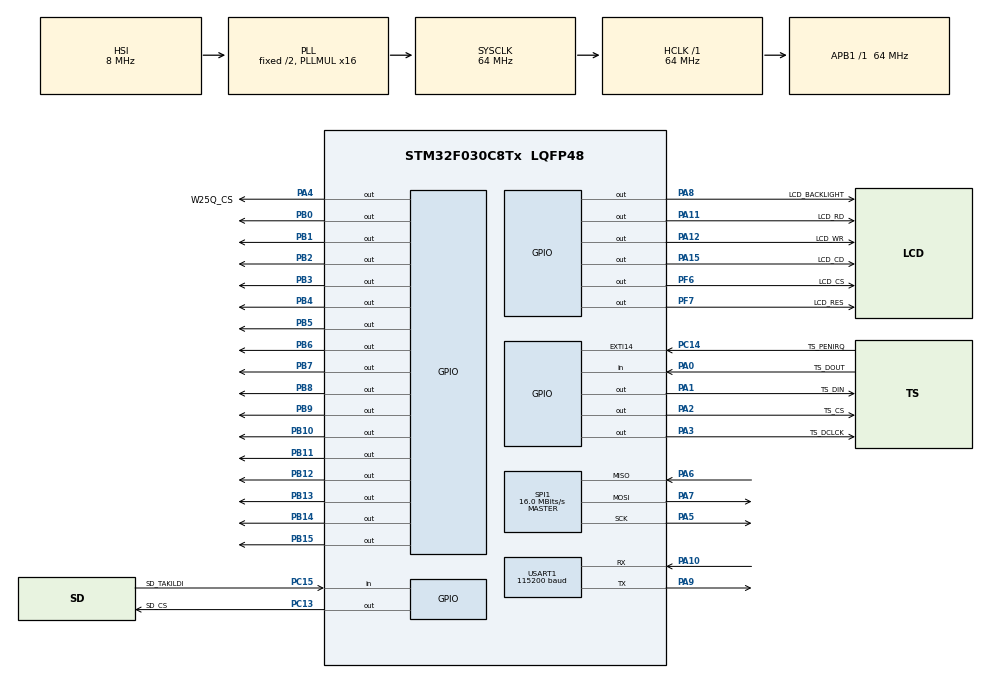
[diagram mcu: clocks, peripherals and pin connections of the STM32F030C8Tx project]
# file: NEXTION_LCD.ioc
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Dma.Request0=USART1_TX
Dma.USART1_TX.0.Direction=DMA_MEMORY_TO_PERIPH
Dma.USART1_TX.0.Instance=DMA1_Channel4
Dma.USART1_TX.0.MemDataAlignment=DMA_MDATAALIGN_BYTE
Dma.USART1_TX.0.MemInc=DMA_MINC_ENABLE
Dma.USART1_TX.0.Mode=DMA_NORMAL
Dma.USART1_TX.0.PeriphDataAlignment=DMA_PDATAALIGN_BYTE
Dma.USART1_TX.0.PeriphInc=DMA_PINC_DISABLE
Dma.USART1_TX.0.Priority=DMA_PRIORITY_LOW
FATFS._MAX_LFN=50
FATFS._USE_FIND=0
FATFS._USE_LFN=0
FATFS._USE_MKFS=0
Mcu.Family=STM32F0
Mcu.Name=STM32F030C8Tx
Mcu.Package=LQFP48
NVIC.DMA1_Channel4_5_IRQn=true\:0\:0\:false\:false\:true\:false\:true
NVIC.EXTI4_15_IRQn=true\:3\:0\:true\:false\:true\:true\:true
NVIC.SPI1_IRQn=true\:0\:0\:false\:false\:true\:true\:true
PA0.GPIO_Label=TS_DOUT
PA0.Signal=GPIO_Input
PA1.GPIO_Label=TS_DIN
PA1.GPIO_PuPd=GPIO_PULLDOWN
PA1.Signal=GPIO_Output
PA10.Mode=Asynchronous
PA10.Signal=USART1_RX
PA11.GPIO_Label=LCD_RD
PA11.GPIO_PuPd=GPIO_PULLUP
PA11.GPIO_Speed=GPIO_SPEED_FREQ_HIGH
PA11.PinState=GPIO_PIN_SET
PA11.Signal=GPIO_Output
PA12.GPIO_Label=LCD_WR
PA12.GPIO_PuPd=GPIO_PULLUP
PA12.GPIO_Speed=GPIO_SPEED_FREQ_HIGH
PA12.PinState=GPIO_PIN_SET
PA12.Signal=GPIO_Output
PA15.GPIO_Label=LCD_CD
PA15.GPIO_PuPd=GPIO_PULLUP
PA15.GPIO_Speed=GPIO_SPEED_FREQ_HIGH
PA15.PinState=GPIO_PIN_SET
PA15.Signal=GPIO_Output
PA2.GPIO_Label=TS_CS
PA2.GPIO_PuPd=GPIO_PULLUP
PA2.PinState=GPIO_PIN_SET
PA2.Signal=GPIO_Output
PA3.GPIO_Label=TS_DCLCK
PA3.GPIO_PuPd=GPIO_PULLUP
PA3.PinState=GPIO_PIN_SET
PA3.Signal=GPIO_Output
PA4.GPIO_Label=W25Q_CS
PA4.GPIO_PuPd=GPIO_PULLUP
PA4.GPIO_Speed=GPIO_SPEED_FREQ_HIGH
PA4.PinState=GPIO_PIN_SET
PA4.Signal=GPIO_Output
PA5.Mode=Full_Duplex_Master
PA5.Signal=SPI1_SCK
PA6.Mode=Full_Duplex_Master
PA6.Signal=SPI1_MISO
PA7.Mode=Full_Duplex_Master
PA7.Signal=SPI1_MOSI
PA8.GPIO_Label=LCD_BACKLIGHT
PA8.GPIO_Speed=GPIO_SPEED_FREQ_HIGH
PA8.Signal=GPIO_Output
PA9.Mode=Asynchronous
PA9.Signal=USART1_TX
PB0.GPIO_Speed=GPIO_SPEED_FREQ_HIGH
PB0.Signal=GPIO_Output
PB1.GPIO_Speed=GPIO_SPEED_FREQ_HIGH
PB1.Signal=GPIO_Output
PB10.GPIO_Speed=GPIO_SPEED_FREQ_HIGH
PB10.Signal=GPIO_Output
PB11.GPIO_Speed=GPIO_SPEED_FREQ_HIGH
PB11.Signal=GPIO_Output
PB12.GPIO_Speed=GPIO_SPEED_FREQ_HIGH
PB12.Signal=GPIO_Output
PB13.GPIO_Speed=GPIO_SPEED_FREQ_HIGH
PB13.Signal=GPIO_Output
PB14.GPIO_Speed=GPIO_SPEED_FREQ_HIGH
PB14.Signal=GPIO_Output
PB15.GPIO_Speed=GPIO_SPEED_FREQ_HIGH
PB15.Signal=GPIO_Output
PB2.GPIO_Speed=GPIO_SPEED_FREQ_HIGH
PB2.Signal=GPIO_Output
PB3.GPIO_Speed=GPIO_SPEED_FREQ_HIGH
PB3.Signal=GPIO_Output
PB4.GPIO_Speed=GPIO_SPEED_FREQ_HIGH
PB4.Signal=GPIO_Output
PB5.GPIO_Speed=GPIO_SPEED_FREQ_HIGH
PB5.Signal=GPIO_Output
PB6.GPIO_Speed=GPIO_SPEED_FREQ_HIGH
PB6.Signal=GPIO_Output
PB7.GPIO_Speed=GPIO_SPEED_FREQ_HIGH
PB7.Signal=GPIO_Output
PB8.GPIO_Speed=GPIO_SPEED_FREQ_HIGH
PB8.Signal=GPIO_Output
PB9.GPIO_Speed=GPIO_SPEED_FREQ_HIGH
PB9.Signal=GPIO_Output
PC13.GPIO_Label=SD_CS
PC13.GPIO_PuPd=GPIO_PULLUP
PC13.GPIO_Speed=GPIO_SPEED_FREQ_LOW
PC13.PinState=GPIO_PIN_SET
PC13.Signal=GPIO_Output
PC14-OSC32_IN.GPIO_Label=TS_PENIRQ
PC14-OSC32_IN.GPIO_ModeDefaultEXTI=GPIO_MODE_IT_FALLING
PC14-OSC32_IN.GPIO_PuPd=GPIO_PULLUP
PC14-OSC32_IN.Signal=GPXTI14
PC15-OSC32_OUT.GPIO_Label=SD_TAKILDI
PC15-OSC32_OUT.GPIO_PuPd=GPIO_PULLUP
PC15-OSC32_OUT.Signal=GPIO_Input
PF6.GPIO_Label=LCD_CS
PF6.GPIO_PuPd=GPIO_PULLUP
PF6.GPIO_Speed=GPIO_SPEED_FREQ_HIGH
PF6.PinState=GPIO_PIN_SET
PF6.Signal=GPIO_Output
PF7.GPIO_Label=LCD_RES
PF7.GPIO_PuPd=GPIO_PULLUP
PF7.GPIO_Speed=GPIO_SPEED_FREQ_HIGH
PF7.PinState=GPIO_PIN_SET
PF7.Signal=GPIO_Output
ProjectManager.HeapSize=0x200
ProjectManager.StackSize=0x400
ProjectManager.TargetToolchain=STM32CubeIDE
RCC.AHBFreq_Value=64000000
RCC.APB1Freq_Value=64000000
RCC.APB1TimFreq_Value=64000000
RCC.HCLKFreq_Value=64000000
RCC.PLLMUL=RCC_PLL_MUL16
RCC.SYSCLKFreq_VALUE=64000000
RCC.SYSCLKSource=RCC_SYSCLKSOURCE_PLLCLK
RCC.Usart1ClockSelection=RCC_USART1CLKSOURCE_HSI
SPI1.BaudRatePrescaler=SPI_BAUDRATEPRESCALER_4
SPI1.CalculateBaudRate=16.0 MBits/s
SPI1.DataSize=SPI_DATASIZE_8BIT
SPI1.Direction=SPI_DIRECTION_2LINES
SPI1.Mode=SPI_MODE_MASTER
SPI1.NSSPMode=SPI_NSS_PULSE_DISABLE
SPI1.VirtualType=VM_MASTER
USART1.BaudRate=115200
USART1.VirtualMode-Asynchronous=VM_ASYNC
VP_FATFS_VS_Generic.Mode=User_defined
board=custom

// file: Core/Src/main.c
/* USER CODE BEGIN Header */
/** FONT DOSYASINI SHORT TAN CHAR A CEVIR YOKSA HAFIZADA COK YER KAPLIYOR VE CALISMAZ
 * 05-11-2019 da hazırlandı
  ******************************************************************************
  * @file           : main.c
  * @brief          : Main program body
  ******************************************************************************
  * @attention
  *
  * <h2><center>&copy; Copyright (c) 2019 STMicroelectronics.
  * All rights reserved.</center></h2>
  *
  * This software component is licensed by ST under BSD 3-Clause license,
  * the "License"; You may not use this file except in compliance with the
  * License. You may obtain a copy of the License at:
  *                        opensource.org/licenses/BSD-3-Clause
  *
  ******************************************************************************
  */
/* USER CODE END Header */

#include "main.h"
#include "fatfs.h"

/* USER CODE BEGIN Includes */
//#include "fatfs_sd.h"
//#include "string.h"
//#include "math.h"
#include "ILI9488.h"
#include "w25qxx.h"
#include "BULENFONT.h"
#include "string.h"
/* USER CODE END Includes */

SPI_HandleTypeDef hspi1;

UART_HandleTypeDef huart1;
DMA_HandleTypeDef hdma_usart1_tx;

void SystemClock_Config(void);
static void MX_GPIO_Init(void);
void MX_SPI1_Init(void);
static void MX_USART1_UART_Init(void);
static void MX_DMA_Init(void);

/* USER CODE BEGIN 0 */
FATFS fs;  //file system
FIL fil;   // to store the result
FRESULT fresult ; //to store the result
uint8_t buffer[2880]; // to store data
uint8_t txbuffer[5];
UINT br,bw;  // file read/write count
FILINFO fi;
DIR dir;

/*capacity related variables */
FATFS *pfs;
DWORD fre_clust;
uint32_t total, free_space;

uint16_t renk;
uint32_t top_adet=0;
uint8_t sn=0;

uint8_t tusa_basildi=0;
uint8_t tus_algilama_sayisi=0;

uint16_t TS_KOR_X=0;
uint16_t TS_KOR_Y=0;

uint16_t X_MAX=0;
uint16_t X_MIN=0;
uint16_t Y_MAX=0;
uint16_t Y_MIN=0;

/* USER CODE END 0 */

int main(void)
{

  /* MCU Configuration--------------------------------------------------------*/

  /* Reset of all peripherals, Initializes the Flash interface and the Systick. */
  HAL_Init();

  /* Configure the system clock */
  SystemClock_Config();

  /* Initialize all configured peripherals */
  MX_GPIO_Init();
  MX_SPI1_Init();
  MX_USART1_UART_Init();
  MX_FATFS_Init();
  MX_DMA_Init();
  /* USER CODE BEGIN 2 */
	HAL_GPIO_WritePin(LCD_RD_GPIO_Port, LCD_RD_Pin, GPIO_PIN_SET);  //OKUMA MODU KAPATILIYOR
	LCD_ILI9488_init();
	W25qxx_Init();

  /*to find the size of data in the buffer */

  /*
  int buffersize (char *buf)
  {
  	int i=0;
  	while(*buf++ != '\0') i++;
  	return i;

  }

*/
  void bufferclear (void)  //clear buffer
  {
  	for (int i=0; i<sizeof(buffer); i++)
  	{
  		//buffer[i]= '\0';
  		buffer[i]= 0XFF;  // BOS YERLER FF LE DOLDURULUYOR
  	}
  }
  //***************************************
  void SD_TO_W25Q()  //BUTUN RESIMLERI TEK SEFERDE KAYDEDER
  {

	  bufferclear();
      char dosyaadi[]="00.bin";   //DOSYA ADLARI "00.bin" den BASLAYIP "99.bin" 'E KADAR
      uint8_t dosyano=0;
      uint16_t sayfano=0;
      uint16_t sectorno=0;
      uint16_t def_sectorno=0;
      W25qxx_EraseSector(0);

  		LCD_Font(10, 10, "SD  KART  BULUNDU  DOSYALAR  KAYDEDILIYOR\n", Segoe_Script21x21,0xffff, 0xf800);
//  		W25qxx_EraseChip();     //KAYIT ISLEMININ YAPILABILMESI ICIN ONCELIKLE SILINMESI GEREKIYOR

  		TEKRAR:
  		fresult =f_open(&fil, dosyaadi, FA_READ);	    /* open file to read FA_READ */

  		if(fresult == FR_OK)
  		{
  		/* Read string from the file */

  		top_adet=0;
  		do
  		{
  		f_read(&fil, buffer, 256, &br);
  		W25qxx_WritePage(buffer,sayfano,0,256);  //kaydederken 1 2 3 4 sayfa no yazılacak(8 BİT)
 // 		W25qxx_ReadBytes(buffer,sayfano<<8,256); //okurken gercek adres yazılacak(32 BİT)
  		sayfano ++;
        sectorno=sayfano>>4;
        if(sectorno != def_sectorno)
        {
        	W25qxx_EraseSector(sectorno);
        	def_sectorno=sectorno;
        }
  		top_adet+=256;
  		}while(top_adet<fil.fsize);

  		f_close(&fil);	 /*close file */
  		HAL_Delay(1000);
  		}

  		dosyano++;
  		dosyaadi[1]=dosyano%10+48;
  		dosyaadi[0]=dosyano/10 +48;
  		if (dosyano <99) goto TEKRAR;
  	    HAL_GPIO_WritePin(SD_CS_GPIO_Port, SD_CS_Pin, GPIO_PIN_SET);
  		LCD_Font(10, 30, "BITTI  sd karti cikartiniz.\n", Segoe_Script21x21,0xffff, 0x001F);

  	}

//***************************************
void WQ25_TO_LCD(uint8_t Resim_Id,uint16_t Xstart, uint16_t Xend, uint16_t Ystart, uint16_t Yend)
{

//	uint32_t okuma_bas=(Ystart*480*2+Xstart)+(Resim_Id*1200*256); //son kısım sayfa secmede kullanılıyor
	uint32_t okuma_bas=(Ystart*480 +Xstart)*2+(Resim_Id*1200*256); //son kısım sayfa secmede kullanılıyor
	uint32_t okuma_bit=Yend*480+Xend;

	uint16_t adet=(Xend-Xstart)*6;

	    LCD_ILI9488_raw_datafeed_start(Xstart, Xend-1,Ystart,Yend-1);

		for(uint16_t yi=Ystart;yi<=Yend;yi+=3)
		{
		W25qxx_ReadBytes(buffer,okuma_bas,adet); //okurken gercek adres yazılacak
		for(uint16_t xi=0;xi<adet;xi+=2)
		{
		renk=buffer[xi]<<8;
		renk |= buffer[xi+1];
		GPIOB->ODR=renk;
		GPIOA->BRR=(uint32_t)LCD_WR_Pin;
		GPIOA->BSRR=(uint32_t)LCD_WR_Pin;
		}
		okuma_bas+=2880;  //her satır 480*2=960 byte den olusuyor
		}

		LCD_ILI9488_raw_datafeed_end();
}
//-*******************************************************
//-*******************************************************
void RENK_TO_LCD(uint16_t renk, uint16_t Xstart, uint16_t Xend, uint16_t Ystart, uint16_t Yend)
{

	    uint16_t adet=(Xend-Xstart)*2;

	    LCD_ILI9488_raw_datafeed_start(Xstart, Xend-1,Ystart,Yend-1);

		for(uint16_t yi=Ystart;yi<=Yend;yi++)
		{
		for(uint16_t xi=0;xi<adet;xi+=2)
		{
		GPIOB->ODR=renk;
		GPIOA->BRR=(uint32_t)LCD_WR_Pin;
		GPIOA->BSRR=(uint32_t)LCD_WR_Pin;
		}
		}

		LCD_ILI9488_raw_datafeed_end();

}
//-*******************************************************
void SD_KART_KONTROL()
{
	  if(!HAL_GPIO_ReadPin(SD_TAKILDI_GPIO_Port, SD_TAKILDI_Pin))
	  {

	  fresult =f_mount(&fs, "",0);  //SD KART TAKILDIMI
	  	if(fresult == FR_OK)
	  	{
	  	SD_TO_W25Q();
	  	}
	  	while(!HAL_GPIO_ReadPin(SD_TAKILDI_GPIO_Port, SD_TAKILDI_Pin));
	  	NVIC_SystemReset();
	  }
}
//************************************************************************
void TS_KALIBRE()
{
	    TS_KOR_X=0;
	    RENK_TO_LCD(0, 0, 480, 0, 320);
	    while (!tusa_basildi)
	    {
	     RENK_TO_LCD(0xf800, 0, 20, 0, 20);
	    }
	    tusa_basildi=0;
	    TS_KOR_XY_OKU();
	    X_MAX=TS_KOR_X;
	    Y_MAX=TS_KOR_Y;
	    RENK_TO_LCD(0, 0, 480, 0, 320);
//******
	    TS_KOR_X=0;
	    while (!tusa_basildi)
	    {
	     RENK_TO_LCD(0xf800, 460, 480, 0, 20);
	    }
	    tusa_basildi=0;
	     TS_KOR_XY_OKU();
	    RENK_TO_LCD(0, 0, 480, 0, 320);
//*******
	    TS_KOR_X=0;
	    while (!tusa_basildi)
	    {
	     RENK_TO_LCD(0xf800, 460, 480, 300, 320);
	    }
	    tusa_basildi=0;
	    TS_KOR_XY_OKU();
	    X_MIN=TS_KOR_X;
	  	Y_MIN=TS_KOR_Y;
	    RENK_TO_LCD(0, 0, 480, 0, 320);
//*******
	    TS_KOR_X=0;
	    while (!tusa_basildi)
	    {
	     RENK_TO_LCD(0xf800, 0, 20, 300, 320);
	    }
	    tusa_basildi=0;
	    TS_KOR_XY_OKU();
	    HAL_Delay(2000);
	    RENK_TO_LCD(0, 0, 480, 0, 320);
}

void HAL_SPI_TxRxCpltCallback(SPI_HandleTypeDef *hspi)
{
  /* Prevent unused argument(s) compilation warning */
  UNUSED(hspi);

  /* NOTE : This function should not be modified, when the callback is needed,
            the HAL_SPI_TxRxCpltCallback should be implemented in the user file
   */

}

  /* USER CODE END 2 */

  /* Infinite loop */
  /* USER CODE BEGIN WHILE */
HAL_GPIO_WritePin(W25Q_CS_GPIO_Port, W25Q_CS_Pin, GPIO_PIN_SET); //W25Q SPI ICIN KAPATILIYOR
HAL_GPIO_WritePin(LCD_BACKLIGHT_GPIO_Port, LCD_BACKLIGHT_Pin,GPIO_PIN_SET);

HAL_Delay(500);
SD_KART_KONTROL();

//	W25qxx_WriteStatusRegister(2,0);
HAL_Delay(2000);
//TS_KALIBRE();

txbuffer[0]=0x0b;
txbuffer[1]=0;
txbuffer[2]=0;
txbuffer[3]=0;
txbuffer[4]=0;

  while (1)
  {
    /* USER CODE END WHILE */

    /* USER CODE BEGIN 3 */

	  SD_KART_KONTROL();

    //RENK_TO_LCD(0xf800>>sn,0,480,0,320);
//   RENK_TO_LCD(0XF800, 0, 480, 0, 320);
/*
		HAL_GPIO_WritePin(LCD_CS_GPIO_Port, LCD_CS_Pin, GPIO_PIN_RESET);
	//	bus_delay_function();
		HAL_GPIO_WritePin(LCD_CD_GPIO_Port, LCD_CD_Pin, GPIO_PIN_RESET);
	//	bus_delay_function();
		GPIOB->ODR = (0x0028);//set y range
		HAL_GPIO_WritePin(LCD_WR_GPIO_Port, LCD_WR_Pin, GPIO_PIN_RESET);
	//	bus_delay_function();
		HAL_GPIO_WritePin(LCD_WR_GPIO_Port, LCD_WR_Pin, GPIO_PIN_SET);
		HAL_GPIO_WritePin(LCD_CD_GPIO_Port, LCD_CD_Pin, GPIO_PIN_SET);

*/
 //	WQ25_TO_LCD(sn, 0, 480, 0, 320);

/*
	HAL_GPIO_WritePin(LCD_CS_GPIO_Port, LCD_CS_Pin, GPIO_PIN_RESET);
//	bus_delay_function();
	HAL_GPIO_WritePin(LCD_CD_GPIO_Port, LCD_CD_Pin, GPIO_PIN_RESET);
//	bus_delay_function();
	GPIOB->ODR = (0x0029);//set y range
	HAL_GPIO_WritePin(LCD_WR_GPIO_Port, LCD_WR_Pin, GPIO_PIN_RESET);
//	bus_delay_function();
	HAL_GPIO_WritePin(LCD_WR_GPIO_Port, LCD_WR_Pin, GPIO_PIN_SET);
	HAL_GPIO_WritePin(LCD_CD_GPIO_Port, LCD_CD_Pin, GPIO_PIN_SET);
*/
	/*
    const bb[]={sn+48 ,"\n"};
    LCD_Font(460, 50*sn, bb , Segoe_Script21x21, 0x1ffff, 0xf800);
    LCD_Font(100, 50*sn, "BULENT       ASLANTURK\n", Segoe_Script21x21, 0x107e0, 0xf800);
 	HAL_Delay(1000);
*/
 //	LCD_Rect_Fill(0, 480, 0, 320);
// 	HAL_Delay(1000);
// 	W25qxx_ReadBytes_BULENT(&sn, top_adet, 2);
 	sn++;
 	if (sn>5) sn=0;

 	if(tusa_basildi)
 	 	{
 		TS_KOR_XY_OKU();
 		tusa_basildi=0;
 		tus_algilama_sayisi++;
 	 	}

 	if(tus_algilama_sayisi >1)
 	{
 	RENK_TO_LCD(0XF800, ((3860-TS_KOR_X)*0.129729), ((3860-TS_KOR_X)*0.129729)+10, ((3800-TS_KOR_Y)*0.086486), ((3800-TS_KOR_Y)*0.086486)+10);
 	tus_algilama_sayisi=0;
 	}

  }

  /* USER CODE END 3 */
}

void SystemClock_Config(void)
{
  RCC_OscInitTypeDef RCC_OscInitStruct = {0};
  RCC_ClkInitTypeDef RCC_ClkInitStruct = {0};
  RCC_PeriphCLKInitTypeDef PeriphClkInit = {0};

  /** Initializes the CPU, AHB and APB busses clocks
  */
  RCC_OscInitStruct.OscillatorType = RCC_OSCILLATORTYPE_HSI;
  RCC_OscInitStruct.HSIState = RCC_HSI_ON;
  RCC_OscInitStruct.HSICalibrationValue = RCC_HSICALIBRATION_DEFAULT;
  RCC_OscInitStruct.PLL.PLLState = RCC_PLL_ON;
  RCC_OscInitStruct.PLL.PLLSource = RCC_PLLSOURCE_HSI;
  RCC_OscInitStruct.PLL.PLLMUL = RCC_PLL_MUL16;
  RCC_OscInitStruct.PLL.PREDIV = RCC_PREDIV_DIV1;
  if (HAL_RCC_OscConfig(&RCC_OscInitStruct) != HAL_OK)
  {
    Error_Handler();
  }
  /** Initializes the CPU, AHB and APB busses clocks
  */
  RCC_ClkInitStruct.ClockType = RCC_CLOCKTYPE_HCLK|RCC_CLOCKTYPE_SYSCLK
                              |RCC_CLOCKTYPE_PCLK1;
  RCC_ClkInitStruct.SYSCLKSource = RCC_SYSCLKSOURCE_PLLCLK;
  RCC_ClkInitStruct.AHBCLKDivider = RCC_SYSCLK_DIV1;
  RCC_ClkInitStruct.APB1CLKDivider = RCC_HCLK_DIV1;

  if (HAL_RCC_ClockConfig(&RCC_ClkInitStruct, FLASH_LATENCY_1) != HAL_OK)
  {
    Error_Handler();
  }
  PeriphClkInit.PeriphClockSelection = RCC_PERIPHCLK_USART1;
  PeriphClkInit.Usart1ClockSelection = RCC_USART1CLKSOURCE_HSI;
  if (HAL_RCCEx_PeriphCLKConfig(&PeriphClkInit) != HAL_OK)
  {
    Error_Handler();
  }
}

void MX_SPI1_Init(void)
{

  /* SPI1 parameter configuration*/
  hspi1.Instance = SPI1;
  hspi1.Init.Mode = SPI_MODE_MASTER;
  hspi1.Init.Direction = SPI_DIRECTION_2LINES;
  hspi1.Init.DataSize = SPI_DATASIZE_8BIT;
  hspi1.Init.CLKPolarity = SPI_POLARITY_LOW;
  hspi1.Init.CLKPhase = SPI_PHASE_1EDGE;
  hspi1.Init.NSS = SPI_NSS_SOFT;
  hspi1.Init.BaudRatePrescaler = SPI_BAUDRATEPRESCALER_4;
  hspi1.Init.FirstBit = SPI_FIRSTBIT_MSB;
  hspi1.Init.TIMode = SPI_TIMODE_DISABLE;
  hspi1.Init.CRCCalculation = SPI_CRCCALCULATION_DISABLE;
  hspi1.Init.CRCPolynomial = 7;
  hspi1.Init.CRCLength = SPI_CRC_LENGTH_DATASIZE;
  hspi1.Init.NSSPMode = SPI_NSS_PULSE_DISABLE;
  if (HAL_SPI_Init(&hspi1) != HAL_OK)
  {
    Error_Handler();
  }

}

static void MX_USART1_UART_Init(void)
{

  huart1.Instance = USART1;
  huart1.Init.BaudRate = 115200;
  huart1.Init.WordLength = UART_WORDLENGTH_8B;
  huart1.Init.StopBits = UART_STOPBITS_1;
  huart1.Init.Parity = UART_PARITY_NONE;
  huart1.Init.Mode = UART_MODE_TX_RX;
  huart1.Init.HwFlowCtl = UART_HWCONTROL_NONE;
  huart1.Init.OverSampling = UART_OVERSAMPLING_16;
  huart1.Init.OneBitSampling = UART_ONE_BIT_SAMPLE_DISABLE;
  huart1.AdvancedInit.AdvFeatureInit = UART_ADVFEATURE_NO_INIT;
  if (HAL_UART_Init(&huart1) != HAL_OK)
  {
    Error_Handler();
  }

}

static void MX_DMA_Init(void)
{

  /* DMA controller clock enable */
  __HAL_RCC_DMA1_CLK_ENABLE();

  /* DMA interrupt init */
  /* DMA1_Channel4_5_IRQn interrupt configuration */
  HAL_NVIC_SetPriority(DMA1_Channel4_5_IRQn, 0, 0);
  HAL_NVIC_EnableIRQ(DMA1_Channel4_5_IRQn);

}

static void MX_GPIO_Init(void)
{
  GPIO_InitTypeDef GPIO_InitStruct = {0};

  /* GPIO Ports Clock Enable */
  __HAL_RCC_GPIOC_CLK_ENABLE();
  __HAL_RCC_GPIOA_CLK_ENABLE();
  __HAL_RCC_GPIOB_CLK_ENABLE();
  __HAL_RCC_GPIOF_CLK_ENABLE();

  /*Configure GPIO pin Output Level */
  HAL_GPIO_WritePin(SD_CS_GPIO_Port, SD_CS_Pin, GPIO_PIN_SET);

  /*Configure GPIO pin Output Level */
  HAL_GPIO_WritePin(GPIOA, TS_DIN_Pin|LCD_BACKLIGHT_Pin, GPIO_PIN_RESET);

  /*Configure GPIO pin Output Level */
  HAL_GPIO_WritePin(GPIOA, TS_CS_Pin|TS_DCLCK_Pin|W25Q_CS_Pin|LCD_RD_Pin
                          |LCD_WR_Pin|LCD_CD_Pin, GPIO_PIN_SET);

  /*Configure GPIO pin Output Level */
  HAL_GPIO_WritePin(GPIOB, GPIO_PIN_0|GPIO_PIN_1|GPIO_PIN_2|GPIO_PIN_10
                          |GPIO_PIN_11|GPIO_PIN_12|GPIO_PIN_13|GPIO_PIN_14
                          |GPIO_PIN_15|GPIO_PIN_3|GPIO_PIN_4|GPIO_PIN_5
                          |GPIO_PIN_6|GPIO_PIN_7|GPIO_PIN_8|GPIO_PIN_9, GPIO_PIN_RESET);

  /*Configure GPIO pin Output Level */
  HAL_GPIO_WritePin(GPIOF, LCD_CS_Pin|LCD_RES_Pin, GPIO_PIN_SET);

  /*Configure GPIO pin : SD_CS_Pin */
  GPIO_InitStruct.Pin = SD_CS_Pin;
  GPIO_InitStruct.Mode = GPIO_MODE_OUTPUT_PP;
  GPIO_InitStruct.Pull = GPIO_PULLUP;
  GPIO_InitStruct.Speed = GPIO_SPEED_FREQ_LOW;
  HAL_GPIO_Init(SD_CS_GPIO_Port, &GPIO_InitStruct);

  /*Configure GPIO pin : TS_PENIRQ_Pin */
  GPIO_InitStruct.Pin = TS_PENIRQ_Pin;
  GPIO_InitStruct.Mode = GPIO_MODE_IT_FALLING;
  GPIO_InitStruct.Pull = GPIO_PULLUP;
  HAL_GPIO_Init(TS_PENIRQ_GPIO_Port, &GPIO_InitStruct);

  /*Configure GPIO pin : SD_TAKILDI_Pin */
  GPIO_InitStruct.Pin = SD_TAKILDI_Pin;
  GPIO_InitStruct.Mode = GPIO_MODE_INPUT;
  GPIO_InitStruct.Pull = GPIO_PULLUP;
  HAL_GPIO_Init(SD_TAKILDI_GPIO_Port, &GPIO_InitStruct);

  /*Configure GPIO pin : TS_DOUT_Pin */
  GPIO_InitStruct.Pin = TS_DOUT_Pin;
  GPIO_InitStruct.Mode = GPIO_MODE_INPUT;
  GPIO_InitStruct.Pull = GPIO_NOPULL;
  HAL_GPIO_Init(TS_DOUT_GPIO_Port, &GPIO_InitStruct);

  /*Configure GPIO pin : TS_DIN_Pin */
  GPIO_InitStruct.Pin = TS_DIN_Pin;
  GPIO_InitStruct.Mode = GPIO_MODE_OUTPUT_PP;
  GPIO_InitStruct.Pull = GPIO_PULLDOWN;
  GPIO_InitStruct.Speed = GPIO_SPEED_FREQ_LOW;
  HAL_GPIO_Init(TS_DIN_GPIO_Port, &GPIO_InitStruct);

  /*Configure GPIO pins : TS_CS_Pin TS_DCLCK_Pin */
  GPIO_InitStruct.Pin = TS_CS_Pin|TS_DCLCK_Pin;
  GPIO_InitStruct.Mode = GPIO_MODE_OUTPUT_PP;
  GPIO_InitStruct.Pull = GPIO_PULLUP;
  GPIO_InitStruct.Speed = GPIO_SPEED_FREQ_LOW;
  HAL_GPIO_Init(GPIOA, &GPIO_InitStruct);

  /*Configure GPIO pins : W25Q_CS_Pin LCD_RD_Pin LCD_WR_Pin LCD_CD_Pin */
  GPIO_InitStruct.Pin = W25Q_CS_Pin|LCD_RD_Pin|LCD_WR_Pin|LCD_CD_Pin;
  GPIO_InitStruct.Mode = GPIO_MODE_OUTPUT_PP;
  GPIO_InitStruct.Pull = GPIO_PULLUP;
  GPIO_InitStruct.Speed = GPIO_SPEED_FREQ_HIGH;
  HAL_GPIO_Init(GPIOA, &GPIO_InitStruct);

  /*Configure GPIO pins : PB0 PB1 PB2 PB10
                           PB11 PB12 PB13 PB14
                           PB15 PB3 PB4 PB5
                           PB6 PB7 PB8 PB9 */
  GPIO_InitStruct.Pin = GPIO_PIN_0|GPIO_PIN_1|GPIO_PIN_2|GPIO_PIN_10
                          |GPIO_PIN_11|GPIO_PIN_12|GPIO_PIN_13|GPIO_PIN_14
                          |GPIO_PIN_15|GPIO_PIN_3|GPIO_PIN_4|GPIO_PIN_5
                          |GPIO_PIN_6|GPIO_PIN_7|GPIO_PIN_8|GPIO_PIN_9;
  GPIO_InitStruct.Mode = GPIO_MODE_OUTPUT_PP;
  GPIO_InitStruct.Pull = GPIO_NOPULL;
  GPIO_InitStruct.Speed = GPIO_SPEED_FREQ_HIGH;
  HAL_GPIO_Init(GPIOB, &GPIO_InitStruct);

  /*Configure GPIO pin : LCD_BACKLIGHT_Pin */
  GPIO_InitStruct.Pin = LCD_BACKLIGHT_Pin;
  GPIO_InitStruct.Mode = GPIO_MODE_OUTPUT_PP;
  GPIO_InitStruct.Pull = GPIO_NOPULL;
  GPIO_InitStruct.Speed = GPIO_SPEED_FREQ_HIGH;
  HAL_GPIO_Init(LCD_BACKLIGHT_GPIO_Port, &GPIO_InitStruct);

  /*Configure GPIO pins : LCD_CS_Pin LCD_RES_Pin */
  GPIO_InitStruct.Pin = LCD_CS_Pin|LCD_RES_Pin;
  GPIO_InitStruct.Mode = GPIO_MODE_OUTPUT_PP;
  GPIO_InitStruct.Pull = GPIO_PULLUP;
  GPIO_InitStruct.Speed = GPIO_SPEED_FREQ_HIGH;
  HAL_GPIO_Init(GPIOF, &GPIO_InitStruct);

  /* EXTI interrupt init*/
  HAL_NVIC_SetPriority(EXTI4_15_IRQn, 3, 0);
  HAL_NVIC_EnableIRQ(EXTI4_15_IRQn);

}

/* USER CODE BEGIN 4 */
void HAL_GPIO_EXTI_Callback(uint16_t GPIO_Pin)
{
  /* Prevent unused argument(s) compilation warning */
  UNUSED(GPIO_Pin);
  tusa_basildi=1;

  /* NOTE: This function should not be modified, when the callback is needed,
            the HAL_GPIO_EXTI_Callback could be implemented in the user file
   */
}

/* USER CODE END 4 */

void Error_Handler(void)
{
}

/************************ (C) COPYRIGHT STMicroelectronics *****END OF FILE****/
